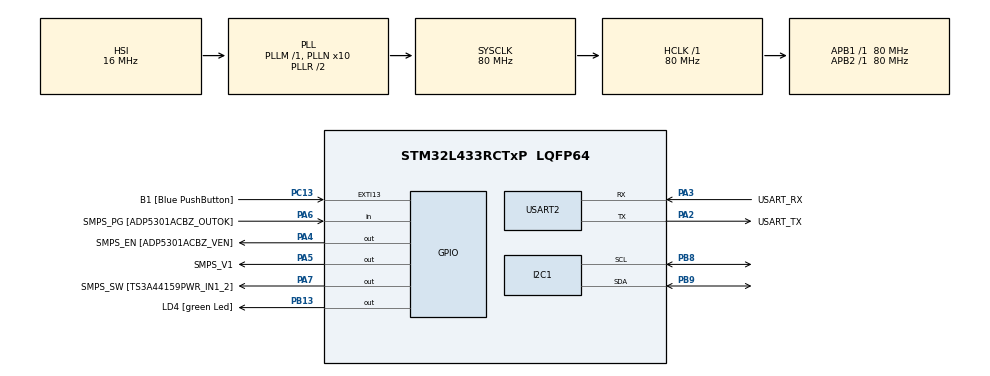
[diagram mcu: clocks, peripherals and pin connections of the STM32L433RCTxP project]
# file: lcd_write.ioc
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I2C1.Timing=0x10D19CE4
Mcu.Family=STM32L4
Mcu.Name=STM32L433RCTxP
Mcu.Package=LQFP64
NVIC.PriorityGroup=NVIC_PRIORITYGROUP_4
PA13\ (JTMS-SWDIO).GPIO_Label=TMS
PA13\ (JTMS-SWDIO).Mode=Serial_Wire
PA13\ (JTMS-SWDIO).Signal=SYS_JTMS-SWDIO
PA14\ (JTCK-SWCLK).GPIO_Label=TCK
PA14\ (JTCK-SWCLK).Mode=Serial_Wire
PA14\ (JTCK-SWCLK).Signal=SYS_JTCK-SWCLK
PA2.GPIO_Label=USART_TX
PA2.GPIO_Mode=GPIO_MODE_AF_PP
PA2.GPIO_PuPd=GPIO_NOPULL
PA2.GPIO_Speed=GPIO_SPEED_FREQ_VERY_HIGH
PA2.Mode=Asynchronous
PA2.Signal=USART2_TX
PA3.GPIO_Label=USART_RX
PA3.GPIO_Mode=GPIO_MODE_AF_PP
PA3.GPIO_PuPd=GPIO_NOPULL
PA3.GPIO_Speed=GPIO_SPEED_FREQ_VERY_HIGH
PA3.Mode=Asynchronous
PA3.Signal=USART2_RX
PA4.GPIO_Label=SMPS_EN [ADP5301ACBZ_VEN]
PA4.Signal=GPIO_Output
PA5.GPIO_Label=SMPS_V1
PA5.GPIO_ModeDefaultOutputPP=GPIO_MODE_OUTPUT_PP
PA5.GPIO_PuPd=GPIO_NOPULL
PA5.GPIO_Speed=GPIO_SPEED_FREQ_LOW
PA5.Signal=GPIO_Output
PA6.GPIO_Label=SMPS_PG [ADP5301ACBZ_OUTOK]
PA6.GPIO_PuPd=GPIO_PULLUP
PA6.Signal=GPIO_Input
PA7.GPIO_Label=SMPS_SW [TS3A44159PWR_IN1_2]
PA7.Signal=GPIO_Output
PB13.GPIO_Label=LD4 [green Led]
PB13.Signal=GPIO_Output
PB3\ (JTDO-TRACESWO).GPIO_Label=SWO
PB3\ (JTDO-TRACESWO).Signal=SYS_JTDO-SWO
PB8.Mode=I2C
PB8.Signal=I2C1_SCL
PB9.Mode=I2C
PB9.Signal=I2C1_SDA
PC13.GPIO_Label=B1 [Blue PushButton]
PC13.GPIO_ModeDefaultEXTI=GPIO_MODE_IT_FALLING
PC13.GPIO_PuPd=GPIO_NOPULL
PC13.Signal=GPXTI13
PC14-OSC32_IN\ (PC14).Mode=LSE-External-Oscillator
PC14-OSC32_IN\ (PC14).Signal=RCC_OSC32_IN
PC15-OSC32_OUT\ (PC15).Mode=LSE-External-Oscillator
PC15-OSC32_OUT\ (PC15).Signal=RCC_OSC32_OUT
PH0-OSC_IN\ (PH0).GPIO_Label=MCO
PH0-OSC_IN\ (PH0).Mode=HSE-External-Clock-Source
PH0-OSC_IN\ (PH0).Signal=RCC_OSC_IN
PH1-OSC_OUT\ (PH1).Signal=RCC_OSC_OUT
ProjectManager.HeapSize=0x200
ProjectManager.StackSize=0x400
ProjectManager.TargetToolchain=STM32CubeIDE
RCC.ADCFreq_Value=64000000
RCC.AHBFreq_Value=80000000
RCC.APB1Freq_Value=80000000
RCC.APB1TimFreq_Value=80000000
RCC.APB2Freq_Value=80000000
RCC.APB2TimFreq_Value=80000000
RCC.CortexFreq_Value=80000000
RCC.HCLKFreq_Value=80000000
RCC.HSE_VALUE=8000000
RCC.HSI48_VALUE=48000000
RCC.HSI_VALUE=16000000
RCC.MSI_VALUE=4000000
RCC.PLLN=10
RCC.PLLSourceVirtual=RCC_PLLSOURCE_HSI
RCC.PREFETCH_ENABLE=1
RCC.SYSCLKFreq_VALUE=80000000
RCC.SYSCLKSource=RCC_SYSCLKSOURCE_PLLCLK
RCC.USBFreq_Value=64000000
RCC.VCOOutputFreq_Value=160000000
TIM2.Prescaler=79
USART2.VirtualMode-Asynchronous=VM_ASYNC
VP_TIM2_VS_ClockSourceINT.Mode=Internal
board=NUCLEO-L433RC-P

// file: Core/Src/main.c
/* USER CODE BEGIN Header */
/**
  ******************************************************************************
  * @file           : main.c
  * @brief          : Main program body
  ******************************************************************************
  * @attention
  *
  * Copyright (c) 2025 STMicroelectronics.
  * All rights reserved.
  *
  * This software is licensed under terms that can be found in the LICENSE file
  * in the root directory of this software component.
  * If no LICENSE file comes with this software, it is provided AS-IS.
  *
  ******************************************************************************
  */
/* USER CODE END Header */
#include "main.h"

/* USER CODE BEGIN Includes */
#include "lcd.h"
#include <stdio.h>
#include <stdlib.h>
#include <string.h>
/* USER CODE END Includes */

I2C_HandleTypeDef hi2c1;

TIM_HandleTypeDef htim2;

UART_HandleTypeDef huart2;

void SystemClock_Config(void);
static void MX_GPIO_Init(void);
static void MX_USART2_UART_Init(void);
static void MX_I2C1_Init(void);
static void MX_TIM2_Init(void);
/* USER CODE BEGIN PFP */
int read_uart(char* buffer){

  char str[1];
  str[0] = '\0';
  uint16_t str_len = 1;
  HAL_UART_Receive(&huart2,
                   (uint8_t *) str,
                   str_len,
                   HAL_MAX_DELAY);
#if 1
  sprintf(buffer,"%s%s",buffer,str);
#else
  sprintf(buffer,"%x",str[0]);
#endif
}

void format_buffer(char *buffer){
    int i, j = 0;
    char temp[strlen(buffer)+1];
    int len = strlen(buffer);

    if(buffer[strlen(buffer)-1] == 0xd){
    	for(int k = 0; k < 16; k ++){
    		buffer[len+k] = ' ';
    	}
    	buffer[len+17]='\0';
    }

    if(strlen(buffer) < 1) return;
    for(i = 0; buffer[i]; i++) {
        if(buffer[i] == 0x7f) {
            if(j > 0) j--;  // remove previous character
        } else {
            temp[j++] = buffer[i];
        }
    }
    temp[j] = '\0';
    strcpy(buffer, temp);

}

/* USER CODE END PFP */

int main(void)
{

  /* MCU Configuration--------------------------------------------------------*/

  /* Reset of all peripherals, Initializes the Flash interface and the Systick. */
  HAL_Init();

  /* Configure the system clock */
  SystemClock_Config();

  /* Initialize all configured peripherals */
  MX_GPIO_Init();
  MX_USART2_UART_Init();
  MX_I2C1_Init();
  MX_TIM2_Init();
  /* USER CODE BEGIN 2 */

  TextLCDType lcd;
  TextLCD_Init(&lcd,&hi2c1, 0x4e);

  char buffer[4095];
  memcpy(buffer,'\0',sizeof(char)*4095);

  /* USER CODE END 2 */

  /* Infinite loop */
  /* USER CODE BEGIN WHILE */
  while (1)
  {

    read_uart(buffer);
    TextLCD_Clear(&lcd);
    format_buffer(buffer);
    for(size_t i = 0; i < strlen(buffer);i++){
      if(i == 16){
        TextLCD_Position(&lcd, 0, 1);
      }
      TextLCD_PutChar(&lcd, buffer[i]);

    }

    /* USER CODE END WHILE */

  }
}

void SystemClock_Config(void)
{
  RCC_OscInitTypeDef RCC_OscInitStruct = {0};
  RCC_ClkInitTypeDef RCC_ClkInitStruct = {0};

  /** Configure the main internal regulator output voltage
  */
  if (HAL_PWREx_ControlVoltageScaling(PWR_REGULATOR_VOLTAGE_SCALE1) != HAL_OK)
  {
    Error_Handler();
  }

  /** Initializes the RCC Oscillators according to the specified parameters
  * in the RCC_OscInitTypeDef structure.
  */
  RCC_OscInitStruct.OscillatorType = RCC_OSCILLATORTYPE_HSI;
  RCC_OscInitStruct.HSIState = RCC_HSI_ON;
  RCC_OscInitStruct.HSICalibrationValue = RCC_HSICALIBRATION_DEFAULT;
  RCC_OscInitStruct.PLL.PLLState = RCC_PLL_ON;
  RCC_OscInitStruct.PLL.PLLSource = RCC_PLLSOURCE_HSI;
  RCC_OscInitStruct.PLL.PLLM = 1;
  RCC_OscInitStruct.PLL.PLLN = 10;
  RCC_OscInitStruct.PLL.PLLP = RCC_PLLP_DIV7;
  RCC_OscInitStruct.PLL.PLLQ = RCC_PLLQ_DIV2;
  RCC_OscInitStruct.PLL.PLLR = RCC_PLLR_DIV2;
  if (HAL_RCC_OscConfig(&RCC_OscInitStruct) != HAL_OK)
  {
    Error_Handler();
  }

  /** Initializes the CPU, AHB and APB buses clocks
  */
  RCC_ClkInitStruct.ClockType = RCC_CLOCKTYPE_HCLK|RCC_CLOCKTYPE_SYSCLK
                              |RCC_CLOCKTYPE_PCLK1|RCC_CLOCKTYPE_PCLK2;
  RCC_ClkInitStruct.SYSCLKSource = RCC_SYSCLKSOURCE_PLLCLK;
  RCC_ClkInitStruct.AHBCLKDivider = RCC_SYSCLK_DIV1;
  RCC_ClkInitStruct.APB1CLKDivider = RCC_HCLK_DIV1;
  RCC_ClkInitStruct.APB2CLKDivider = RCC_HCLK_DIV1;

  if (HAL_RCC_ClockConfig(&RCC_ClkInitStruct, FLASH_LATENCY_4) != HAL_OK)
  {
    Error_Handler();
  }
}

static void MX_I2C1_Init(void)
{

  hi2c1.Instance = I2C1;
  hi2c1.Init.Timing = 0x10D19CE4;
  hi2c1.Init.OwnAddress1 = 0;
  hi2c1.Init.AddressingMode = I2C_ADDRESSINGMODE_7BIT;
  hi2c1.Init.DualAddressMode = I2C_DUALADDRESS_DISABLE;
  hi2c1.Init.OwnAddress2 = 0;
  hi2c1.Init.OwnAddress2Masks = I2C_OA2_NOMASK;
  hi2c1.Init.GeneralCallMode = I2C_GENERALCALL_DISABLE;
  hi2c1.Init.NoStretchMode = I2C_NOSTRETCH_DISABLE;
  if (HAL_I2C_Init(&hi2c1) != HAL_OK)
  {
    Error_Handler();
  }

  /** Configure Analogue filter
  */
  if (HAL_I2CEx_ConfigAnalogFilter(&hi2c1, I2C_ANALOGFILTER_ENABLE) != HAL_OK)
  {
    Error_Handler();
  }

  /** Configure Digital filter
  */
  if (HAL_I2CEx_ConfigDigitalFilter(&hi2c1, 0) != HAL_OK)
  {
    Error_Handler();
  }

}

static void MX_TIM2_Init(void)
{

  TIM_ClockConfigTypeDef sClockSourceConfig = {0};
  TIM_MasterConfigTypeDef sMasterConfig = {0};

  htim2.Instance = TIM2;
  htim2.Init.Prescaler = 79;
  htim2.Init.CounterMode = TIM_COUNTERMODE_UP;
  htim2.Init.Period = 4294967295;
  htim2.Init.ClockDivision = TIM_CLOCKDIVISION_DIV1;
  htim2.Init.AutoReloadPreload = TIM_AUTORELOAD_PRELOAD_DISABLE;
  if (HAL_TIM_Base_Init(&htim2) != HAL_OK)
  {
    Error_Handler();
  }
  sClockSourceConfig.ClockSource = TIM_CLOCKSOURCE_INTERNAL;
  if (HAL_TIM_ConfigClockSource(&htim2, &sClockSourceConfig) != HAL_OK)
  {
    Error_Handler();
  }
  sMasterConfig.MasterOutputTrigger = TIM_TRGO_RESET;
  sMasterConfig.MasterSlaveMode = TIM_MASTERSLAVEMODE_DISABLE;
  if (HAL_TIMEx_MasterConfigSynchronization(&htim2, &sMasterConfig) != HAL_OK)
  {
    Error_Handler();
  }

}

static void MX_USART2_UART_Init(void)
{

  huart2.Instance = USART2;
  huart2.Init.BaudRate = 115200;
  huart2.Init.WordLength = UART_WORDLENGTH_8B;
  huart2.Init.StopBits = UART_STOPBITS_1;
  huart2.Init.Parity = UART_PARITY_NONE;
  huart2.Init.Mode = UART_MODE_TX_RX;
  huart2.Init.HwFlowCtl = UART_HWCONTROL_NONE;
  huart2.Init.OverSampling = UART_OVERSAMPLING_16;
  huart2.Init.OneBitSampling = UART_ONE_BIT_SAMPLE_DISABLE;
  huart2.AdvancedInit.AdvFeatureInit = UART_ADVFEATURE_NO_INIT;
  if (HAL_UART_Init(&huart2) != HAL_OK)
  {
    Error_Handler();
  }

}

static void MX_GPIO_Init(void)
{
  GPIO_InitTypeDef GPIO_InitStruct = {0};

  /* GPIO Ports Clock Enable */
  __HAL_RCC_GPIOC_CLK_ENABLE();
  __HAL_RCC_GPIOH_CLK_ENABLE();
  __HAL_RCC_GPIOA_CLK_ENABLE();
  __HAL_RCC_GPIOB_CLK_ENABLE();

  /*Configure GPIO pin Output Level */
  HAL_GPIO_WritePin(GPIOA, SMPS_EN_Pin|SMPS_V1_Pin|SMPS_SW_Pin, GPIO_PIN_RESET);

  /*Configure GPIO pin Output Level */
  HAL_GPIO_WritePin(LD4_GPIO_Port, LD4_Pin, GPIO_PIN_RESET);

  /*Configure GPIO pin : B1_Pin */
  GPIO_InitStruct.Pin = B1_Pin;
  GPIO_InitStruct.Mode = GPIO_MODE_IT_FALLING;
  GPIO_InitStruct.Pull = GPIO_NOPULL;
  HAL_GPIO_Init(B1_GPIO_Port, &GPIO_InitStruct);

  /*Configure GPIO pins : SMPS_EN_Pin SMPS_V1_Pin SMPS_SW_Pin */
  GPIO_InitStruct.Pin = SMPS_EN_Pin|SMPS_V1_Pin|SMPS_SW_Pin;
  GPIO_InitStruct.Mode = GPIO_MODE_OUTPUT_PP;
  GPIO_InitStruct.Pull = GPIO_NOPULL;
  GPIO_InitStruct.Speed = GPIO_SPEED_FREQ_LOW;
  HAL_GPIO_Init(GPIOA, &GPIO_InitStruct);

  /*Configure GPIO pin : SMPS_PG_Pin */
  GPIO_InitStruct.Pin = SMPS_PG_Pin;
  GPIO_InitStruct.Mode = GPIO_MODE_INPUT;
  GPIO_InitStruct.Pull = GPIO_PULLUP;
  HAL_GPIO_Init(SMPS_PG_GPIO_Port, &GPIO_InitStruct);

  /*Configure GPIO pin : LD4_Pin */
  GPIO_InitStruct.Pin = LD4_Pin;
  GPIO_InitStruct.Mode = GPIO_MODE_OUTPUT_PP;
  GPIO_InitStruct.Pull = GPIO_NOPULL;
  GPIO_InitStruct.Speed = GPIO_SPEED_FREQ_LOW;
  HAL_GPIO_Init(LD4_GPIO_Port, &GPIO_InitStruct);

}

void Error_Handler(void)
{
  __disable_irq();
  while (1)
  {
  }
}
